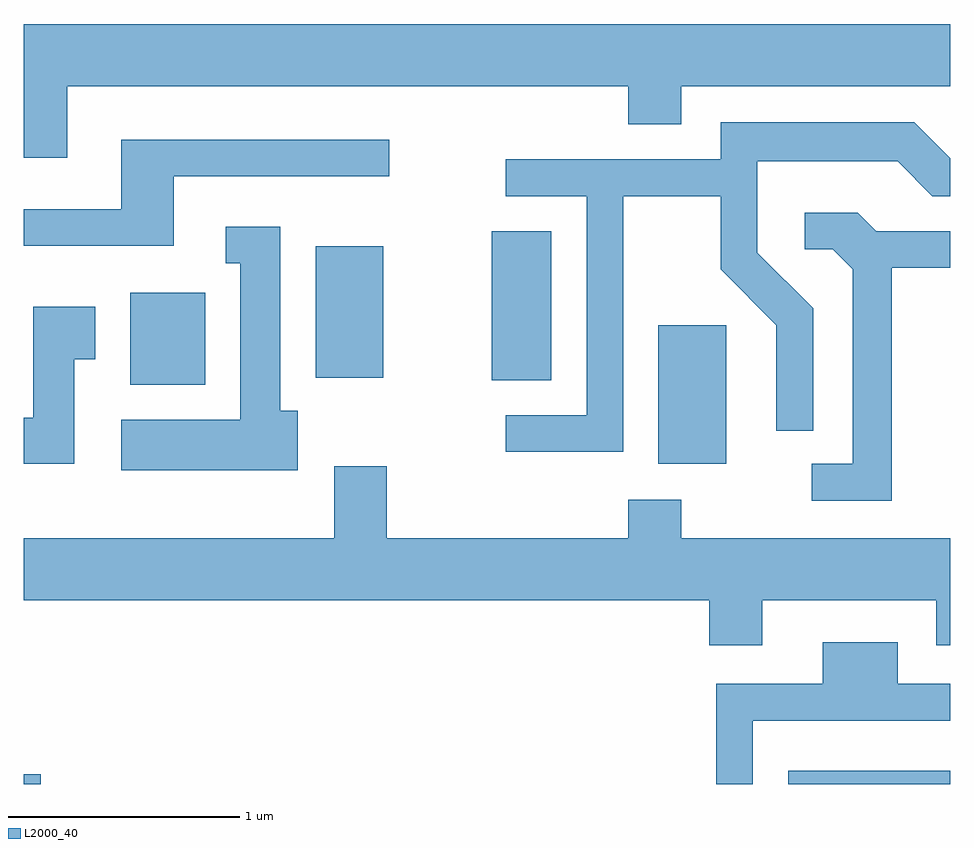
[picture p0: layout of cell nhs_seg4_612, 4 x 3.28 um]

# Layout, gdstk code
import gdstk
lib = gdstk.Library(unit=1e-6, precision=1e-09)
def R(c, l, rs):  # rectangles x0, y0, x1, y1
    for r in rs: c.add(gdstk.rectangle(r[:2], r[2:], *l))
def P(c, l, *ps):  # polygons
    for p in ps: c.add(gdstk.Polygon(p, *l))
L2000_40 = (2000, 40)

nhs_seg4_612 = lib.new_cell('nhs_seg4_612')
R(nhs_seg4_612, L2000_40, [(203.611,1253.982,203.684,1254.024), (206.911,1253.982,207.611,1254.039), (206.351,1255.366,206.644,1255.964), (204.071,1255.706,204.394,1256.104), (205.631,1255.726,205.889,1256.369), (204.871,1255.736,205.164,1256.304)])
P(nhs_seg4_612, L2000_40, [(203.799,1256.996),(206.221,1256.996),(206.221,1256.831),(206.449,1256.831),(206.449,1256.996),(207.611,1256.996),(207.611,1257.264),(203.611,1257.264),(203.611,1256.686),(203.799,1256.686)],
  [(206.199,1256.521),(206.621,1256.521),(206.621,1256.204),(206.861,1255.964),(206.861,1255.508),(207.019,1255.508),(207.019,1256.037),(206.779,1256.277),(206.779,1256.671),(207.384,1256.671),(207.534,1256.521),(207.611,1256.521),(207.611,1256.685),(207.457,1256.839),(206.621,1256.839),(206.621,1256.679),(205.693,1256.679),(205.693,1256.521),(206.041,1256.521),(206.041,1255.574),(205.693,1255.574),(205.693,1255.416),(206.199,1255.416)],
  [(204.259,1256.606),(205.188,1256.606),(205.188,1256.764),(204.031,1256.764),(204.031,1256.464),(203.611,1256.464),(203.611,1256.306),(204.259,1256.306)],
  [(207.359,1256.211),(207.611,1256.211),(207.611,1256.369),(207.292,1256.369),(207.212,1256.449),(206.983,1256.449),(206.983,1256.291),(207.104,1256.291),(207.191,1256.204),(207.191,1255.364),(207.013,1255.364),(207.013,1255.206),(207.359,1255.206)],
  [(204.794,1255.594),(204.719,1255.594),(204.719,1256.389),(204.483,1256.389),(204.483,1256.231),(204.546,1256.231),(204.546,1255.554),(204.031,1255.554),(204.031,1255.336),(204.794,1255.336)],
  [(203.829,1255.816),(203.919,1255.816),(203.919,1256.044),(203.651,1256.044),(203.651,1255.564),(203.611,1255.564),(203.611,1255.366),(203.829,1255.366)],
  [(206.799,1254.776),(207.551,1254.776),(207.551,1254.581),(207.611,1254.581),(207.611,1255.044),(206.449,1255.044),(206.449,1255.209),(206.221,1255.209),(206.221,1255.044),(205.179,1255.044),(205.179,1255.354),(204.951,1255.354),(204.951,1255.044),(203.611,1255.044),(203.611,1254.776),(206.571,1254.776),(206.571,1254.581),(206.799,1254.581)],
  [(206.759,1254.256),(207.611,1254.256),(207.611,1254.414),(207.384,1254.414),(207.384,1254.594),(207.061,1254.594),(207.061,1254.414),(206.601,1254.414),(206.601,1253.982),(206.759,1253.982)])

lib.write_gds('nhs_seg4_612.gds')
